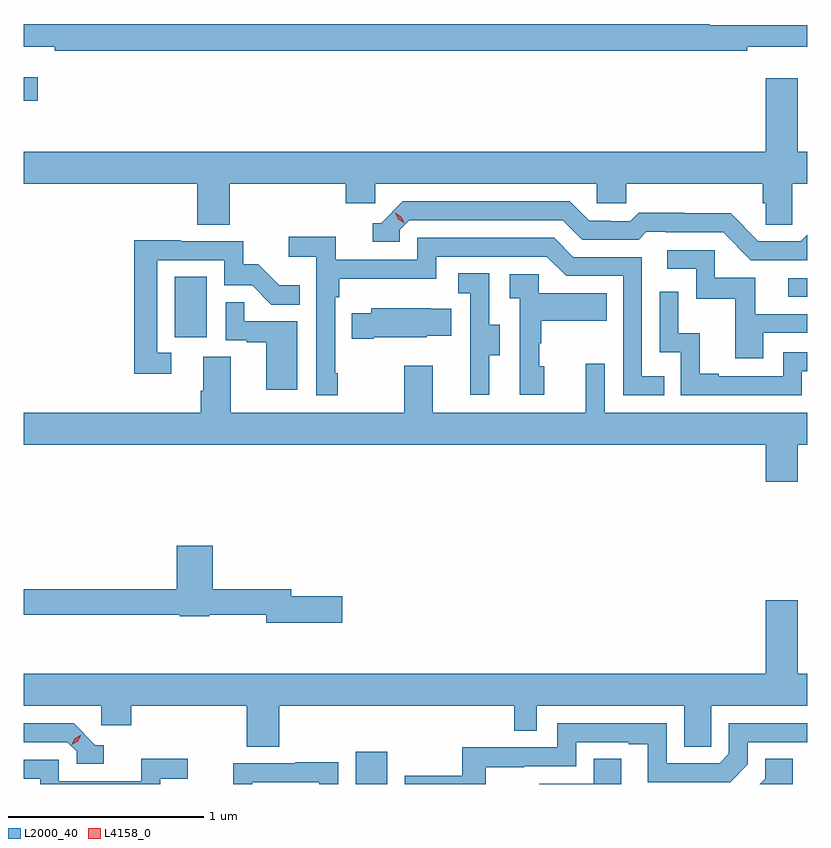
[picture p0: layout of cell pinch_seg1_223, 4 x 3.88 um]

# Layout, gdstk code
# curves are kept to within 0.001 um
import gdstk
lib = gdstk.Library(unit=1e-6, precision=1e-09)
def R(c, l, rs):  # rectangles x0, y0, x1, y1
    for r in rs: c.add(gdstk.rectangle(r[:2], r[2:], *l))
def P(c, l, *ps):  # polygons
    for p in ps: c.add(gdstk.Polygon(p, *l))
L2000_40 = (2000, 40)
L4158_0 = (4158, 0)

pinch_seg1_223 = lib.new_cell('pinch_seg1_223')
R(pinch_seg1_223, L2000_40, [(978.098,564.653,978.259,564.817), (977.174,566.934,977.338,567.241), (980.307,567.141,980.404,567.234), (976.404,568.139,976.477,568.261)])
P(pinch_seg1_223, L2000_40, [(980.096,568.415),(980.404,568.415),(980.404,568.525),(979.906,568.525),(979.906,568.532),(976.404,568.532),(976.404,568.415),(976.564,568.415),(976.564,568.396),(980.096,568.396)],
  [(977.456,567.716),(978.047,567.716),(978.047,567.618),(978.198,567.618),(978.198,567.716),(979.329,567.716),(979.329,567.618),(979.479,567.618),(979.479,567.716),(980.177,567.716),(980.177,567.618),(980.191,567.618),(980.191,567.508),(980.328,567.508),(980.328,567.716),(980.404,567.716),(980.404,567.88),(980.356,567.88),(980.356,568.255),(980.192,568.255),(980.192,567.88),(976.404,567.88),(976.404,567.716),(977.291,567.716),(977.291,567.508),(977.456,567.508)],
  [(980.404,567.457),(980.37,567.423),(980.154,567.423),(980.012,567.565),(979.776,567.565),(979.776,567.568),(979.543,567.568),(979.501,567.525),(979.398,567.525),(979.398,567.528),(979.291,567.528),(979.192,567.627),(978.339,567.627),(978.228,567.516),(978.185,567.516),(978.185,567.42),(978.324,567.42),(978.324,567.483),(978.372,567.531),(979.155,567.531),(979.254,567.432),(979.543,567.432),(979.582,567.471),(979.681,567.471),(979.681,567.468),(979.974,567.468),(980.115,567.327),(980.404,567.327)],
  [(978.007,566.749),(977.994,566.749),(977.994,567.137),(978.014,567.137),(978.014,567.233),(978.51,567.233),(978.51,567.345),(979.074,567.345),(979.173,567.246),(979.464,567.246),(979.464,566.637),(979.673,566.637),(979.673,566.733),(979.56,566.733),(979.56,567.342),(979.21,567.342),(979.111,567.441),(978.414,567.441),(978.414,567.33),(977.996,567.33),(977.996,567.446),(977.757,567.446),(977.757,567.344),(977.898,567.344),(977.898,566.637),(978.007,566.637)],
  [(977.158,566.853),(977.085,566.853),(977.085,567.327),(977.427,567.327),(977.427,567.198),(977.571,567.198),(977.669,567.1),(977.813,567.1),(977.813,567.199),(977.709,567.199),(977.602,567.306),(977.526,567.306),(977.526,567.423),(977.207,567.423),(977.207,567.428),(976.969,567.428),(976.969,566.748),(977.158,566.748)],
  [(980.179,566.955),(980.404,566.955),(980.404,567.051),(980.137,567.051),(980.137,567.237),(979.932,567.237),(979.932,567.378),(979.689,567.378),(979.689,567.282),(979.836,567.282),(979.836,567.129),(980.035,567.129),(980.035,566.826),(980.179,566.826)],
  [(978.781,566.842),(978.835,566.842),(978.835,566.997),(978.78,566.997),(978.78,567.26),(978.621,567.26),(978.621,567.157),(978.684,567.157),(978.684,566.853),(978.683,566.853),(978.683,566.64),(978.781,566.64)],
  [(979.06,566.784),(979.035,566.784),(979.035,566.903),(979.045,566.903),(979.045,567.017),(979.379,567.017),(979.379,567.157),(979.032,567.157),(979.032,567.255),(978.885,567.255),(978.885,567.131),(978.936,567.131),(978.936,566.64),(979.06,566.64)],
  [(980.376,566.76),(980.404,566.76),(980.404,566.856),(980.28,566.856),(980.28,566.733),(979.951,566.733),(979.951,566.746),(979.856,566.746),(979.856,566.954),(979.746,566.954),(979.746,567.166),(979.65,567.166),(979.65,566.856),(979.758,566.856),(979.758,566.637),(980.376,566.637)],
  [(977.8,567.015),(977.531,567.015),(977.531,567.113),(977.436,567.113),(977.436,566.919),(977.543,566.919),(977.543,566.907),(977.642,566.907),(977.642,566.664),(977.8,566.664)],
  [(978.19,566.933),(978.462,566.933),(978.462,566.942),(978.587,566.942),(978.587,567.079),(978.479,567.079),(978.479,567.082),(978.177,567.082),(978.177,567.055),(978.079,567.055),(978.079,566.926),(978.19,566.926)],
  [(980.356,566.384),(980.404,566.384),(980.404,566.548),(979.371,566.548),(979.371,566.797),(979.274,566.797),(979.274,566.548),(978.493,566.548),(978.493,566.788),(978.346,566.788),(978.346,566.548),(977.461,566.548),(977.461,566.834),(977.321,566.834),(977.321,566.66),(977.309,566.66),(977.309,566.548),(976.404,566.548),(976.404,566.384),(980.192,566.384),(980.192,566.196),(980.356,566.196)],
  [(978.031,565.61),(977.77,565.61),(977.77,565.646),(977.369,565.646),(977.369,565.87),(977.186,565.87),(977.186,565.646),(976.404,565.646),(976.404,565.518),(977.202,565.518),(977.202,565.51),(977.352,565.51),(977.352,565.518),(977.642,565.518),(977.642,565.475),(978.031,565.475)],
  [(977.708,565.052),(978.907,565.052),(978.907,564.925),(979.023,564.925),(979.023,565.052),(979.775,565.052),(979.775,564.844),(979.914,564.844),(979.914,565.052),(980.404,565.052),(980.404,565.216),(980.356,565.216),(980.356,565.591),(980.192,565.591),(980.192,565.216),(976.404,565.216),(976.404,565.052),(976.8,565.052),(976.8,564.954),(976.952,564.954),(976.952,565.052),(977.543,565.052),(977.543,564.844),(977.708,564.844)],
  [(978.763,564.739),(978.959,564.739),(978.959,564.744),(979.224,564.744),(979.224,564.867),(979.493,564.867),(979.493,564.855),(979.589,564.855),(979.589,564.662),(980.01,564.663),(980.1,564.753),(980.1,564.867),(980.404,564.867),(980.404,564.963),(980.004,564.963),(980.004,564.807),(979.956,564.759),(979.686,564.759),(979.686,564.963),(979.128,564.963),(979.128,564.84),(978.642,564.84),(978.642,564.694),(978.348,564.694),(978.348,564.653),(978.763,564.653)],
  [(976.813,564.852),(976.77,564.852),(976.659,564.963),(976.404,564.963),(976.404,564.867),(976.626,564.867),(976.674,564.819),(976.674,564.756),(976.813,564.756)],
  [(979.453,564.782),(979.313,564.782),(979.313,564.654),(979.036,564.654),(979.036,564.653),(979.453,564.653)],
  [(980.329,564.782),(980.189,564.782),(980.189,564.68),(980.162,564.653),(980.329,564.653)],
  [(977.1,564.68),(977.242,564.68),(977.242,564.782),(977.003,564.782),(977.003,564.666),(976.584,564.666),(976.584,564.777),(976.404,564.777),(976.404,564.681),(976.488,564.681),(976.488,564.653),(977.1,564.653)],
  [(977.571,564.663),(977.913,564.663),(977.913,564.653),(978.009,564.653),(978.009,564.764),(977.791,564.764),(977.791,564.759),(977.473,564.759),(977.473,564.653),(977.571,564.653)])
P(pinch_seg1_223, L4158_0, [(978.347,567.516),(978.316,567.536),(978.301,567.569),(978.301,567.569),(978.301,567.569),(978.331,567.549),(978.347,567.516),(978.347,567.516)],
  [(976.65,564.853),(976.65,564.853),(976.666,564.886),(976.697,564.905),(976.698,564.905),(976.698,564.904),(976.681,564.872),(976.65,564.853)])

lib.write_gds('pinch_seg1_223.gds')
